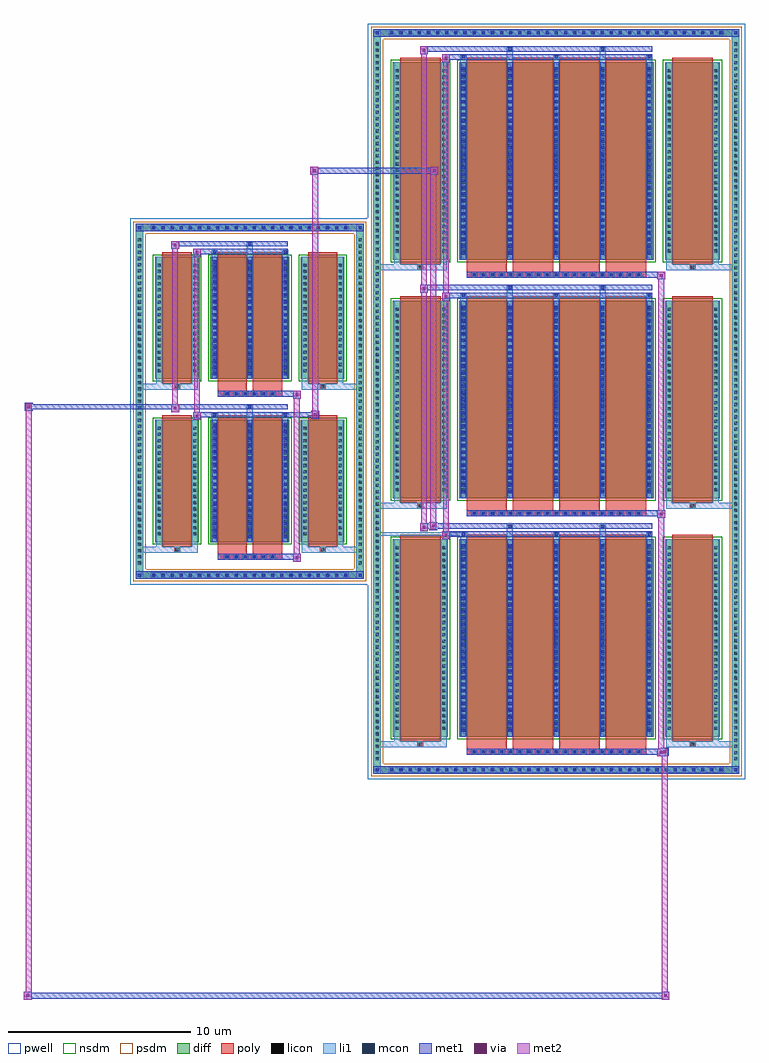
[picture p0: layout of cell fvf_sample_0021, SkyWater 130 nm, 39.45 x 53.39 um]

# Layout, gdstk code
import gdstk
lib = gdstk.Library(unit=1e-6, precision=1e-09)
def R(c, l, rs):  # rectangles x0, y0, x1, y1
    for r in rs: c.add(gdstk.rectangle(r[:2], r[2:], *l))
def A(c, l, x, y, w, h, nx, ny, dx, dy):  # array of equal rectangles
    R(c, l, [(x+i*dx, y+j*dy, x+i*dx+w, y+j*dy+h) for i in range(nx) for j in range(ny)])
def P(c, l, *ps):  # polygons
    for p in ps: c.add(gdstk.Polygon(p, *l))
pwell = (64, 44)
diff = (65, 20)
poly = (66, 20)
licon = (66, 44)
li1 = (67, 20)
mcon = (67, 44)
met1 = (68, 20)
via = (68, 44)
met2 = (69, 20)
nsdm = (93, 44)
psdm = (94, 20)

fvf_sample_0021 = lib.new_cell('fvf_sample_0021')
R(fvf_sample_0021, pwell, [(6.451,-20.672,27.093,20.672), (-6.551,-10.021,6.551,10.021)])
A(fvf_sample_0021, diff, 7.567, -20.362, 0.41, 0.41, 37, 2, 0.5, 40.314)
A(fvf_sample_0021, diff, 6.761, -19.755, 0.41, 0.41, 1, 116, 0, 0.34)
A(fvf_sample_0021, diff, 26.373, -19.755, 0.41, 0.41, 1, 116, 0, 0.34)
A(fvf_sample_0021, diff, 7.831, -18.341, 2.992, 10.802, 1, 3, 0, 13.048)
A(fvf_sample_0021, diff, 11.463, -18.341, 10.618, 10.802, 1, 3, 0, 13.048)
A(fvf_sample_0021, diff, 22.721, -18.341, 2.992, 10.802, 1, 3, 0, 13.048)
A(fvf_sample_0021, diff, -5.455, -9.711, 0.41, 0.41, 22, 2, 0.5, 19.012)
A(fvf_sample_0021, diff, -6.241, -9.045, 0.41, 0.41, 1, 53, 0, 0.34)
A(fvf_sample_0021, diff, 5.831, -9.045, 0.41, 0.41, 1, 53, 0, 0.34)
R(fvf_sample_0021, diff, [(7.567,-20.362,25.977,-19.952), (6.761,-19.755,7.171,19.755), (26.373,-19.755,26.783,19.755), (-5.455,-9.711,5.455,-9.301), (-6.241,-9.045,-5.831,9.045), (5.831,-9.045,6.241,9.045), (-5.171,-7.69,-2.793,-1.014), (-2.153,-7.69,2.153,-1.014), (2.793,-7.69,5.171,-1.014), (-5.171,1.23,-2.793,7.906), (-2.153,1.23,2.153,7.906), (2.793,1.23,5.171,7.906), (-5.455,9.301,5.455,9.711), (7.567,19.952,25.977,20.362)])
P(fvf_sample_0021, diff, [(6.241,9.711),(-6.241,9.711),(-6.241,-9.301),(-5.831,-9.301),(-5.831,9.301),(5.831,9.301),(5.831,-9.301),(-5.831,-9.301),(-6.241,-9.301),(-6.241,-9.711),(6.241,-9.711)],
  [(26.783,20.362),(6.761,20.362),(6.761,-19.952),(7.171,-19.952),(7.171,19.952),(26.373,19.952),(26.373,-19.952),(7.171,-19.952),(6.761,-19.952),(6.761,-20.362),(26.783,-20.362)])
A(fvf_sample_0021, poly, 11.853, -19.322, 9.838, 0.33, 1, 3, 0, 13.048)
A(fvf_sample_0021, poly, 12.107, -19.322, 0.33, 0.33, 19, 3, 0.5, 13.048)
A(fvf_sample_0021, poly, 11.853, -18.992, 2.212, 0.401, 4, 3, 2.542, 13.048)
A(fvf_sample_0021, poly, 8.221, -18.591, 2.212, 11.302, 1, 3, 0, 13.048)
A(fvf_sample_0021, poly, 11.853, -18.591, 2.212, 11.302, 4, 3, 2.542, 13.048)
A(fvf_sample_0021, poly, 23.111, -18.591, 2.212, 11.302, 1, 3, 0, 13.048)
A(fvf_sample_0021, poly, -1.415, -8.67, 0.33, 0.33, 6, 2, 0.5, 8.92)
R(fvf_sample_0021, poly, [(9.162,-18.921,9.492,-18.591), (9.162,-18.921,9.492,-18.591), (24.052,-18.921,24.382,-18.591), (24.052,-18.921,24.382,-18.591), (-1.763,-8.67,1.763,-8.34), (-1.763,-8.34,-0.165,-7.94), (0.165,-8.34,1.763,-7.94), (-4.147,-8.27,-3.817,-7.94), (-4.147,-8.27,-3.817,-7.94), (3.817,-8.27,4.147,-7.94), (3.817,-8.27,4.147,-7.94), (-4.781,-7.94,-3.183,-0.764), (-1.763,-7.94,-0.165,-0.764), (0.165,-7.94,1.763,-0.764), (3.183,-7.94,4.781,-0.764), (9.162,-5.873,9.492,-5.543), (9.162,-5.873,9.492,-5.543), (24.052,-5.873,24.382,-5.543), (24.052,-5.873,24.382,-5.543), (-1.763,0.25,1.763,0.58), (-1.763,0.58,-0.165,0.98), (0.165,0.58,1.763,0.98), (-4.147,0.65,-3.817,0.98), (-4.147,0.65,-3.817,0.98), (3.817,0.65,4.147,0.98), (3.817,0.65,4.147,0.98), (-4.781,0.98,-3.183,8.156), (-1.763,0.98,-0.165,8.156), (0.165,0.98,1.763,8.156), (3.183,0.98,4.781,8.156), (9.162,7.175,9.492,7.505), (9.162,7.175,9.492,7.505), (24.052,7.175,24.382,7.505), (24.052,7.175,24.382,7.505)])
A(fvf_sample_0021, licon, 7.687, -20.242, 0.17, 0.17, 37, 2, 0.5, 40.314)
A(fvf_sample_0021, licon, 6.881, -19.635, 0.17, 0.17, 1, 116, 0, 0.34)
A(fvf_sample_0021, licon, 26.493, -19.635, 0.17, 0.17, 1, 116, 0, 0.34)
A(fvf_sample_0021, licon, 12.187, -19.242, 0.17, 0.17, 19, 3, 0.5, 13.048)
A(fvf_sample_0021, licon, 9.242, -18.841, 0.17, 0.17, 1, 3, 0, 13.048)
A(fvf_sample_0021, licon, 24.132, -18.841, 0.17, 0.17, 1, 3, 0, 13.048)
A(fvf_sample_0021, licon, 7.971, -17.955, 0.17, 0.17, 1, 30, 0, 0.34)
A(fvf_sample_0021, licon, 10.513, -17.955, 0.17, 0.17, 1, 30, 0, 0.34)
A(fvf_sample_0021, licon, 11.603, -17.955, 0.17, 0.17, 5, 30, 2.542, 0.34)
A(fvf_sample_0021, licon, 22.861, -17.955, 0.17, 0.17, 1, 30, 0, 0.34)
A(fvf_sample_0021, licon, 25.403, -17.955, 0.17, 0.17, 1, 30, 0, 0.34)
A(fvf_sample_0021, licon, -5.335, -9.591, 0.17, 0.17, 22, 2, 0.5, 19.012)
A(fvf_sample_0021, licon, -6.121, -8.925, 0.17, 0.17, 1, 53, 0, 0.34)
A(fvf_sample_0021, licon, 5.951, -8.925, 0.17, 0.17, 1, 53, 0, 0.34)
A(fvf_sample_0021, licon, -1.335, -8.59, 0.17, 0.17, 6, 2, 0.5, 8.92)
A(fvf_sample_0021, licon, -5.031, -7.327, 0.17, 0.17, 1, 18, 0, 0.34)
A(fvf_sample_0021, licon, -3.103, -7.327, 0.17, 0.17, 1, 18, 0, 0.34)
A(fvf_sample_0021, licon, -2.013, -7.327, 0.17, 0.17, 3, 18, 1.928, 0.34)
A(fvf_sample_0021, licon, 2.933, -7.327, 0.17, 0.17, 1, 18, 0, 0.34)
A(fvf_sample_0021, licon, 4.861, -7.327, 0.17, 0.17, 1, 18, 0, 0.34)
A(fvf_sample_0021, licon, 7.971, -4.907, 0.17, 0.17, 1, 30, 0, 0.34)
A(fvf_sample_0021, licon, 10.513, -4.907, 0.17, 0.17, 1, 30, 0, 0.34)
A(fvf_sample_0021, licon, 11.603, -4.907, 0.17, 0.17, 5, 30, 2.542, 0.34)
A(fvf_sample_0021, licon, 22.861, -4.907, 0.17, 0.17, 1, 30, 0, 0.34)
A(fvf_sample_0021, licon, 25.403, -4.907, 0.17, 0.17, 1, 30, 0, 0.34)
A(fvf_sample_0021, licon, -5.031, 1.593, 0.17, 0.17, 1, 18, 0, 0.34)
A(fvf_sample_0021, licon, -3.103, 1.593, 0.17, 0.17, 1, 18, 0, 0.34)
A(fvf_sample_0021, licon, -2.013, 1.593, 0.17, 0.17, 3, 18, 1.928, 0.34)
A(fvf_sample_0021, licon, 2.933, 1.593, 0.17, 0.17, 1, 18, 0, 0.34)
A(fvf_sample_0021, licon, 4.861, 1.593, 0.17, 0.17, 1, 18, 0, 0.34)
A(fvf_sample_0021, licon, 7.971, 8.141, 0.17, 0.17, 1, 30, 0, 0.34)
A(fvf_sample_0021, licon, 10.513, 8.141, 0.17, 0.17, 1, 30, 0, 0.34)
A(fvf_sample_0021, licon, 11.603, 8.141, 0.17, 0.17, 5, 30, 2.542, 0.34)
A(fvf_sample_0021, licon, 22.861, 8.141, 0.17, 0.17, 1, 30, 0, 0.34)
A(fvf_sample_0021, licon, 25.403, 8.141, 0.17, 0.17, 1, 30, 0, 0.34)
R(fvf_sample_0021, licon, [(-4.067,-8.19,-3.897,-8.02), (3.897,-8.19,4.067,-8.02), (-4.067,0.73,-3.897,0.9), (3.897,0.73,4.067,0.9)])
A(fvf_sample_0021, li1, 7.607, -20.322, 0.33, 0.33, 37, 2, 0.5, 40.314)
A(fvf_sample_0021, li1, 6.801, -19.715, 0.33, 0.33, 1, 116, 0, 0.34)
A(fvf_sample_0021, li1, 26.413, -19.715, 0.33, 0.33, 1, 116, 0, 0.34)
A(fvf_sample_0021, li1, 12.107, -19.322, 0.33, 0.33, 19, 3, 0.5, 13.048)
A(fvf_sample_0021, li1, 6.761, -18.921, 2.401, 0.33, 1, 3, 0, 13.048)
A(fvf_sample_0021, li1, 7.891, -18.921, 0.33, 0.58, 1, 3, 0, 13.048)
A(fvf_sample_0021, li1, 7.891, -18.921, 1.271, 0.33, 1, 3, 0, 13.048)
A(fvf_sample_0021, li1, 9.162, -18.921, 0.33, 0.33, 1, 3, 0, 13.048)
A(fvf_sample_0021, li1, 9.492, -18.921, 1.271, 0.33, 1, 3, 0, 13.048)
A(fvf_sample_0021, li1, 10.433, -18.921, 0.33, 0.58, 1, 3, 0, 13.048)
A(fvf_sample_0021, li1, 22.781, -18.921, 0.33, 0.58, 1, 3, 0, 13.048)
A(fvf_sample_0021, li1, 22.781, -18.921, 1.271, 0.33, 1, 3, 0, 13.048)
A(fvf_sample_0021, li1, 24.052, -18.921, 0.33, 0.33, 1, 3, 0, 13.048)
A(fvf_sample_0021, li1, 24.052, -18.921, 2.731, 0.33, 1, 3, 0, 13.048)
A(fvf_sample_0021, li1, 24.382, -18.921, 1.271, 0.33, 1, 3, 0, 13.048)
A(fvf_sample_0021, li1, 25.323, -18.921, 0.33, 0.58, 1, 3, 0, 13.048)
A(fvf_sample_0021, li1, 7.891, -18.341, 0.33, 10.802, 1, 3, 0, 13.048)
A(fvf_sample_0021, li1, 10.433, -18.341, 0.33, 10.802, 1, 3, 0, 13.048)
A(fvf_sample_0021, li1, 11.523, -18.341, 0.33, 10.802, 5, 3, 2.542, 13.048)
A(fvf_sample_0021, li1, 22.781, -18.341, 0.33, 10.802, 1, 3, 0, 13.048)
A(fvf_sample_0021, li1, 25.323, -18.341, 0.33, 10.802, 1, 3, 0, 13.048)
A(fvf_sample_0021, li1, 11.603, -18.065, 0.17, 0.17, 5, 29, 2.542, 0.36)
A(fvf_sample_0021, li1, 11.603, -18.065, 0.17, 10.25, 5, 3, 2.542, 13.048)
A(fvf_sample_0021, li1, 7.891, -18.035, 0.33, 0.33, 1, 30, 0, 0.34)
A(fvf_sample_0021, li1, 10.433, -18.035, 0.33, 0.33, 1, 30, 0, 0.34)
A(fvf_sample_0021, li1, 11.523, -18.035, 0.33, 0.33, 5, 30, 2.542, 0.34)
A(fvf_sample_0021, li1, 22.781, -18.035, 0.33, 0.33, 1, 30, 0, 0.34)
A(fvf_sample_0021, li1, 25.323, -18.035, 0.33, 0.33, 1, 30, 0, 0.34)
A(fvf_sample_0021, li1, -5.415, -9.671, 0.33, 0.33, 22, 2, 0.5, 19.012)
A(fvf_sample_0021, li1, -6.201, -9.005, 0.33, 0.33, 1, 53, 0, 0.34)
A(fvf_sample_0021, li1, 5.871, -9.005, 0.33, 0.33, 1, 53, 0, 0.34)
A(fvf_sample_0021, li1, -1.415, -8.67, 0.33, 0.33, 6, 2, 0.5, 8.92)
A(fvf_sample_0021, li1, -2.093, -7.69, 0.33, 6.676, 3, 2, 1.928, 8.92)
A(fvf_sample_0021, li1, 11.523, -7.539, 0.33, 0.375, 3, 3, 5.084, 13.048)
A(fvf_sample_0021, li1, 14.065, -7.539, 0.33, 0.805, 1, 3, 0, 13.048)
A(fvf_sample_0021, li1, 19.149, -7.539, 0.33, 0.805, 1, 3, 0, 13.048)
A(fvf_sample_0021, li1, -2.013, -7.497, 0.17, 0.17, 3, 18, 1.928, 0.36)
A(fvf_sample_0021, li1, -2.013, -7.497, 0.17, 6.29, 3, 2, 1.928, 8.92)
A(fvf_sample_0021, li1, -5.111, -7.407, 0.33, 0.33, 1, 18, 0, 0.34)
A(fvf_sample_0021, li1, -3.183, -7.407, 0.33, 0.33, 1, 18, 0, 0.34)
A(fvf_sample_0021, li1, -2.093, -7.407, 0.33, 0.33, 3, 18, 1.928, 0.34)
A(fvf_sample_0021, li1, 2.853, -7.407, 0.33, 0.33, 1, 18, 0, 0.34)
A(fvf_sample_0021, li1, 4.781, -7.407, 0.33, 0.33, 1, 18, 0, 0.34)
A(fvf_sample_0021, li1, 11.603, -7.334, 0.17, 0.17, 3, 3, 5.084, 13.048)
A(fvf_sample_0021, li1, 14.145, -6.904, 0.17, 0.17, 1, 3, 0, 13.048)
A(fvf_sample_0021, li1, 19.229, -6.904, 0.17, 0.17, 1, 3, 0, 13.048)
A(fvf_sample_0021, li1, 11.603, -5.017, 0.17, 0.17, 5, 29, 2.542, 0.36)
A(fvf_sample_0021, li1, 7.891, -4.987, 0.33, 0.33, 1, 30, 0, 0.34)
A(fvf_sample_0021, li1, 10.433, -4.987, 0.33, 0.33, 1, 30, 0, 0.34)
A(fvf_sample_0021, li1, 11.523, -4.987, 0.33, 0.33, 5, 30, 2.542, 0.34)
A(fvf_sample_0021, li1, 22.781, -4.987, 0.33, 0.33, 1, 30, 0, 0.34)
A(fvf_sample_0021, li1, 25.323, -4.987, 0.33, 0.33, 1, 30, 0, 0.34)
A(fvf_sample_0021, li1, -2.013, 1.423, 0.17, 0.17, 3, 18, 1.928, 0.36)
A(fvf_sample_0021, li1, -5.111, 1.513, 0.33, 0.33, 1, 18, 0, 0.34)
A(fvf_sample_0021, li1, -3.183, 1.513, 0.33, 0.33, 1, 18, 0, 0.34)
A(fvf_sample_0021, li1, -2.093, 1.513, 0.33, 0.33, 3, 18, 1.928, 0.34)
A(fvf_sample_0021, li1, 2.853, 1.513, 0.33, 0.33, 1, 18, 0, 0.34)
A(fvf_sample_0021, li1, 4.781, 1.513, 0.33, 0.33, 1, 18, 0, 0.34)
A(fvf_sample_0021, li1, 11.603, 8.031, 0.17, 0.17, 5, 29, 2.542, 0.36)
A(fvf_sample_0021, li1, 7.891, 8.061, 0.33, 0.33, 1, 30, 0, 0.34)
A(fvf_sample_0021, li1, 10.433, 8.061, 0.33, 0.33, 1, 30, 0, 0.34)
A(fvf_sample_0021, li1, 11.523, 8.061, 0.33, 0.33, 5, 30, 2.542, 0.34)
A(fvf_sample_0021, li1, 22.781, 8.061, 0.33, 0.33, 1, 30, 0, 0.34)
A(fvf_sample_0021, li1, 25.323, 8.061, 0.33, 0.33, 1, 30, 0, 0.34)
R(fvf_sample_0021, li1, [(6.761,-20.362,7.171,-19.952), (26.373,-20.362,26.783,-19.952), (7.607,-20.322,25.937,-19.992), (6.881,-20.242,7.051,-20.072), (6.881,-20.242,7.051,-20.072), (26.493,-20.242,26.663,-20.072), (26.493,-20.242,26.663,-20.072), (6.761,-19.952,7.171,19.952), (26.373,-19.952,26.783,19.952), (-6.241,-9.711,-5.831,-9.301), (5.831,-9.711,6.241,-9.301), (-5.415,-9.671,5.415,-9.341), (-6.121,-9.591,-5.951,-9.421), (-6.121,-9.591,-5.951,-9.421), (5.951,-9.591,6.121,-9.421), (5.951,-9.591,6.121,-9.421), (-6.241,-9.301,-5.831,9.301), (5.831,-9.301,6.241,9.301), (-6.241,-8.27,-4.147,-7.94), (-5.111,-8.27,-4.147,-7.94), (-5.111,-8.27,-4.781,-7.69), (-4.147,-8.27,-3.817,-7.94), (-3.817,-8.27,-2.853,-7.94), (-3.183,-8.27,-2.853,-7.69), (2.853,-8.27,3.817,-7.94), (2.853,-8.27,3.183,-7.69), (3.817,-8.27,4.147,-7.94), (3.817,-8.27,6.241,-7.94), (4.147,-8.27,5.111,-7.94), (4.781,-8.27,5.111,-7.69), (-5.111,-7.69,-4.781,-1.014), (-3.183,-7.69,-2.853,-1.014), (2.853,-7.69,3.183,-1.014), (4.781,-7.69,5.111,-1.014), (11.543,-7.394,11.833,-7.104), (6.761,-7.349,11.543,-7.149), (11.603,-7.334,11.773,-7.164), (-2.093,-1.014,-1.763,-0.639), (-0.165,-1.014,0.165,-0.209), (1.763,-1.014,2.093,-0.639), (-2.013,-0.809,-1.843,-0.639), (1.843,-0.809,2.013,-0.639), (-0.085,-0.379,0.085,-0.209), (-6.241,0.65,-4.147,0.98), (-5.111,0.65,-4.147,0.98), (-5.111,0.65,-4.781,1.23), (-4.147,0.65,-3.817,0.98), (-3.817,0.65,-2.853,0.98), (-3.183,0.65,-2.853,1.23), (2.853,0.65,3.817,0.98), (2.853,0.65,3.183,1.23), (3.817,0.65,4.147,0.98), (3.817,0.65,6.241,0.98), (4.147,0.65,5.111,0.98), (4.781,0.65,5.111,1.23), (-5.111,1.23,-4.781,7.906), (-3.183,1.23,-2.853,7.906), (2.853,1.23,3.183,7.906), (4.781,1.23,5.111,7.906), (-2.093,7.906,-1.763,8.281), (-0.165,7.906,0.165,8.711), (1.763,7.906,2.093,8.281), (-2.013,8.111,-1.843,8.281), (1.843,8.111,2.013,8.281), (-0.085,8.541,0.085,8.711), (-6.241,9.301,-5.831,9.711), (5.831,9.301,6.241,9.711), (-5.415,9.341,5.415,9.671), (-6.121,9.421,-5.951,9.591), (-6.121,9.421,-5.951,9.591), (5.951,9.421,6.121,9.591), (5.951,9.421,6.121,9.591), (6.761,19.952,7.171,20.362), (26.373,19.952,26.783,20.362), (7.607,19.992,25.937,20.322), (6.881,20.072,7.051,20.242), (6.881,20.072,7.051,20.242), (26.493,20.072,26.663,20.242), (26.493,20.072,26.663,20.242)])
A(fvf_sample_0021, mcon, 7.687, -20.242, 0.17, 0.17, 37, 2, 0.5, 40.314)
A(fvf_sample_0021, mcon, 12.187, -19.242, 0.17, 0.17, 19, 3, 0.5, 13.048)
A(fvf_sample_0021, mcon, 11.603, -18.065, 0.17, 0.17, 5, 29, 2.542, 0.36)
A(fvf_sample_0021, mcon, -5.335, -9.591, 0.17, 0.17, 22, 2, 0.5, 19.012)
A(fvf_sample_0021, mcon, -1.335, -8.59, 0.17, 0.17, 6, 2, 0.5, 8.92)
A(fvf_sample_0021, mcon, -2.013, -7.497, 0.17, 0.17, 3, 18, 1.928, 0.36)
A(fvf_sample_0021, mcon, 11.603, -7.334, 0.17, 0.17, 3, 3, 5.084, 13.048)
A(fvf_sample_0021, mcon, 14.145, -6.904, 0.17, 0.17, 1, 3, 0, 13.048)
A(fvf_sample_0021, mcon, 19.229, -6.904, 0.17, 0.17, 1, 3, 0, 13.048)
A(fvf_sample_0021, mcon, 11.603, -5.017, 0.17, 0.17, 5, 29, 2.542, 0.36)
A(fvf_sample_0021, mcon, -2.013, 1.423, 0.17, 0.17, 3, 18, 1.928, 0.36)
A(fvf_sample_0021, mcon, 11.603, 8.031, 0.17, 0.17, 5, 29, 2.542, 0.36)
R(fvf_sample_0021, mcon, [(6.881,-20.242,7.051,-20.072), (26.493,-20.242,26.663,-20.072), (-6.121,-9.591,-5.951,-9.421), (5.951,-9.591,6.121,-9.421), (11.603,-7.334,11.773,-7.164), (-2.013,-0.809,-1.843,-0.639), (1.843,-0.809,2.013,-0.639), (-0.085,-0.379,0.085,-0.209), (-2.013,8.111,-1.843,8.281), (1.843,8.111,2.013,8.281), (-0.085,8.541,0.085,8.711), (-6.121,9.421,-5.951,9.591), (5.951,9.421,6.121,9.591), (6.881,20.072,7.051,20.242), (26.493,20.072,26.663,20.242)])
A(fvf_sample_0021, met1, 7.627, -20.302, 0.29, 0.29, 37, 2, 0.5, 40.314)
A(fvf_sample_0021, met1, 11.853, -19.322, 9.838, 0.33, 1, 3, 0, 13.048)
A(fvf_sample_0021, met1, 12.127, -19.302, 0.29, 0.29, 19, 3, 0.5, 13.048)
A(fvf_sample_0021, met1, 11.543, -18.341, 0.29, 10.802, 5, 3, 2.542, 13.048)
A(fvf_sample_0021, met1, 11.543, -18.125, 0.29, 0.29, 5, 29, 2.542, 0.36)
A(fvf_sample_0021, met1, -5.395, -9.651, 0.29, 0.29, 22, 2, 0.5, 19.012)
A(fvf_sample_0021, met1, -1.395, -8.65, 0.29, 0.29, 6, 2, 0.5, 8.92)
A(fvf_sample_0021, met1, -2.073, -7.69, 0.29, 6.676, 3, 2, 1.928, 8.92)
A(fvf_sample_0021, met1, -2.073, -7.557, 0.29, 0.29, 3, 18, 1.928, 0.36)
A(fvf_sample_0021, met1, 11.543, -7.394, 0.29, 0.29, 3, 3, 5.084, 13.048)
A(fvf_sample_0021, met1, 14.085, -6.964, 0.29, 0.29, 1, 3, 0, 13.048)
A(fvf_sample_0021, met1, 19.169, -6.964, 0.29, 0.29, 1, 3, 0, 13.048)
A(fvf_sample_0021, met1, 11.543, -5.077, 0.29, 0.29, 5, 29, 2.542, 0.36)
A(fvf_sample_0021, met1, -2.073, 1.363, 0.29, 0.29, 3, 18, 1.928, 0.36)
A(fvf_sample_0021, met1, 11.543, 7.971, 0.29, 0.29, 5, 29, 2.542, 0.36)
R(fvf_sample_0021, met1, [(-12.359,-32.714,-11.929,-32.284), (22.526,-32.714,22.956,-32.284), (-12.359,-32.664,22.956,-32.334), (-12.359,-32.334,-11.929,-32.284), (22.526,-32.334,22.956,-32.284), (6.761,-20.362,7.171,-19.952), (6.761,-20.362,7.171,-19.952), (7.171,-20.362,26.373,-19.952), (26.373,-20.362,26.783,-19.952), (26.373,-20.362,26.783,-19.952), (6.821,-20.302,7.111,-20.012), (26.433,-20.302,26.723,-20.012), (22.291,-19.422,22.721,-18.992), (22.476,-19.372,22.906,-18.942), (21.691,-19.322,22.721,-18.992), (21.691,-19.322,22.476,-18.992), (-6.241,-9.711,-5.831,-9.301), (-6.241,-9.711,-5.831,-9.301), (-5.831,-9.711,5.831,-9.301), (5.831,-9.711,6.241,-9.301), (5.831,-9.711,6.241,-9.301), (-6.181,-9.651,-5.891,-9.361), (5.891,-9.651,6.181,-9.361), (2.363,-8.77,2.793,-8.34), (-1.763,-8.67,1.763,-8.34), (1.763,-8.67,2.793,-8.34), (10.513,-7.534,10.943,-7.104), (10.513,-7.394,11.543,-7.104), (11.543,-7.394,11.833,-7.104), (11.543,-7.394,22.001,-7.104), (9.313,-7.104,9.743,-6.674), (9.828,-7.034,10.258,-6.604), (9.313,-6.964,11.543,-6.674), (10.258,-6.964,11.543,-6.674), (11.543,-6.964,22.001,-6.674), (22.291,-6.374,22.721,-5.944), (22.291,-6.374,22.721,-5.944), (21.691,-6.274,22.721,-5.944), (21.691,-6.274,22.721,-5.944), (-3.103,-1.009,-2.673,-0.579), (3.358,-0.939,3.788,-0.509), (-3.103,-0.869,-2.073,-0.579), (-2.073,-0.869,-1.783,-0.579), (-2.073,-0.869,2.073,-0.579), (1.783,-0.869,2.073,-0.579), (2.073,-0.869,3.358,-0.579), (-4.303,-0.579,-3.873,-0.149), (-12.309,-0.509,-11.879,-0.079), (-11.879,-0.439,-2.073,-0.149), (-4.303,-0.439,-2.073,-0.149), (-2.073,-0.439,2.073,-0.149), (-0.145,-0.439,0.145,-0.149), (2.363,0.15,2.793,0.58), (-1.763,0.25,1.763,0.58), (1.763,0.25,2.793,0.58), (10.513,5.514,10.943,5.944), (10.513,5.514,10.943,5.944), (10.513,5.654,11.543,5.944), (10.513,5.654,11.543,5.944), (11.543,5.654,22.001,5.944), (9.313,5.944,9.743,6.374), (9.313,5.944,9.743,6.374), (9.313,6.084,11.543,6.374), (9.313,6.084,11.543,6.374), (11.543,6.084,22.001,6.374), (22.291,6.674,22.721,7.104), (21.691,6.774,22.721,7.104), (-3.103,7.911,-2.673,8.341), (-3.103,8.051,-2.073,8.341), (-2.073,8.051,-1.783,8.341), (-2.073,8.051,2.073,8.341), (1.783,8.051,2.073,8.341), (-4.303,8.341,-3.873,8.771), (-4.303,8.481,-2.073,8.771), (-2.073,8.481,2.073,8.771), (-0.145,8.481,0.145,8.771), (-6.241,9.301,-5.831,9.711), (-6.241,9.301,-5.831,9.711), (-5.831,9.301,5.831,9.711), (5.831,9.301,6.241,9.711), (5.831,9.301,6.241,9.711), (-6.181,9.361,-5.891,9.651), (5.891,9.361,6.181,9.651), (3.308,12.403,3.738,12.833), (9.878,12.403,10.308,12.833), (3.308,12.453,10.308,12.783), (3.308,12.783,3.738,12.833), (9.878,12.783,10.308,12.833), (10.513,18.562,10.943,18.992), (10.513,18.702,11.543,18.992), (11.543,18.702,22.001,18.992), (9.313,18.992,9.743,19.422), (9.313,19.132,11.543,19.422), (11.543,19.132,22.001,19.422), (6.761,19.952,7.171,20.362), (6.761,19.952,7.171,20.362), (7.171,19.952,26.373,20.362), (26.373,19.952,26.783,20.362), (26.373,19.952,26.783,20.362), (6.821,20.012,7.111,20.302), (26.433,20.012,26.723,20.302)])
R(fvf_sample_0021, via, [(-12.219,-32.574,-12.069,-32.424), (22.666,-32.574,22.816,-32.424), (22.431,-19.282,22.581,-19.132), (22.616,-19.232,22.766,-19.082), (2.503,-8.63,2.653,-8.48), (10.653,-7.394,10.803,-7.244), (9.453,-6.964,9.603,-6.814), (9.968,-6.894,10.118,-6.744), (22.431,-6.234,22.581,-6.084), (22.431,-6.234,22.581,-6.084), (-2.963,-0.869,-2.813,-0.719), (3.498,-0.799,3.648,-0.649), (-4.163,-0.439,-4.013,-0.289), (-12.169,-0.369,-12.019,-0.219), (2.503,0.29,2.653,0.44), (10.653,5.654,10.803,5.804), (10.653,5.654,10.803,5.804), (9.453,6.084,9.603,6.234), (9.453,6.084,9.603,6.234), (22.431,6.814,22.581,6.964), (-2.963,8.051,-2.813,8.201), (-4.163,8.481,-4.013,8.631), (3.448,12.543,3.598,12.693), (10.018,12.543,10.168,12.693), (10.653,18.702,10.803,18.852), (9.453,19.132,9.603,19.282)])
R(fvf_sample_0021, met2, [(-12.359,-32.714,-11.929,-32.284), (-12.259,-32.714,-11.929,-0.459), (22.526,-32.714,22.956,-32.284), (22.526,-32.714,22.856,-19.322), (-12.309,-32.664,-11.979,-32.334), (22.576,-32.664,22.906,-32.334), (22.291,-19.422,22.721,-18.992), (22.341,-19.422,22.671,-5.944), (22.671,-19.422,22.721,-18.992), (22.341,-19.372,22.671,-19.042), (22.526,-19.322,22.856,-18.992), (2.363,-8.77,2.793,-8.34), (2.413,-8.77,2.743,0.58), (2.743,-8.77,2.793,-8.34), (2.413,-8.72,2.743,-8.39), (10.513,-7.534,10.943,-7.104), (10.583,-7.534,10.873,5.944), (10.873,-7.534,10.943,-7.104), (10.563,-7.484,10.893,-7.154), (9.313,-7.104,9.743,-6.674), (9.383,-7.104,9.673,6.374), (9.673,-7.104,9.743,-6.674), (9.363,-7.054,9.693,-6.724), (9.878,-6.984,10.208,-6.654), (9.878,-6.654,10.208,12.833), (22.291,-6.374,22.721,-5.944), (22.291,-6.374,22.721,-5.944), (22.341,-6.374,22.671,7.104), (22.671,-6.374,22.721,-5.944), (22.671,-6.374,22.721,-5.944), (22.341,-6.324,22.671,-5.994), (22.341,-6.324,22.671,-5.994), (-3.103,-1.009,-2.673,-0.579), (-3.033,-1.009,-2.743,8.341), (-2.743,-1.009,-2.673,-0.579), (-3.053,-0.959,-2.723,-0.629), (3.408,-0.889,3.738,-0.559), (-4.303,-0.579,-3.873,-0.149), (-4.233,-0.579,-3.943,8.771), (-3.943,-0.579,-3.873,-0.149), (3.408,-0.559,3.738,12.833), (-4.253,-0.529,-3.923,-0.199), (-12.259,-0.459,-11.929,-0.129), (2.363,0.15,2.793,0.58), (2.743,0.15,2.793,0.58), (2.413,0.2,2.743,0.53), (10.513,5.514,10.943,5.944), (10.513,5.514,10.943,5.944), (10.583,5.514,10.873,18.992), (10.873,5.514,10.943,5.944), (10.873,5.514,10.943,5.944), (10.563,5.564,10.893,5.894), (10.563,5.564,10.893,5.894), (9.313,5.944,9.743,6.374), (9.313,5.944,9.743,6.374), (9.383,5.944,9.673,19.422), (9.673,5.944,9.743,6.374), (9.673,5.944,9.743,6.374), (9.363,5.994,9.693,6.324), (9.363,5.994,9.693,6.324), (22.291,6.674,22.721,7.104), (22.671,6.674,22.721,7.104), (22.341,6.724,22.671,7.054), (-3.103,7.911,-2.673,8.341), (-2.743,7.911,-2.673,8.341), (-3.053,7.961,-2.723,8.291), (-4.303,8.341,-3.873,8.771), (-3.943,8.341,-3.873,8.771), (-4.253,8.391,-3.923,8.721), (3.308,12.403,3.738,12.833), (9.878,12.403,10.308,12.833), (3.358,12.453,3.688,12.783), (9.928,12.453,10.258,12.783), (10.513,18.562,10.943,18.992), (10.873,18.562,10.943,18.992), (10.563,18.612,10.893,18.942), (9.313,18.992,9.743,19.422), (9.673,18.992,9.743,19.422), (9.363,19.042,9.693,19.372)])
A(fvf_sample_0021, nsdm, 7.701, -18.471, 3.252, 11.062, 1, 3, 0, 13.048)
A(fvf_sample_0021, nsdm, 11.333, -18.471, 10.878, 11.062, 1, 3, 0, 13.048)
A(fvf_sample_0021, nsdm, 22.591, -18.471, 3.252, 11.062, 1, 3, 0, 13.048)
R(fvf_sample_0021, nsdm, [(-5.301,-7.82,-2.663,-0.884), (-2.283,-7.82,2.283,-0.884), (2.663,-7.82,5.301,-0.884), (-5.301,1.1,-2.663,8.036), (-2.283,1.1,2.283,8.036), (2.663,1.1,5.301,8.036)])
P(fvf_sample_0021, psdm, [(6.371,9.841),(-6.371,9.841),(-6.371,-9.171),(-5.701,-9.171),(-5.701,9.171),(5.701,9.171),(5.701,-9.171),(-5.701,-9.171),(-6.371,-9.171),(-6.371,-9.841),(6.371,-9.841)],
  [(26.913,20.492),(6.631,20.492),(6.631,-19.822),(7.301,-19.822),(7.301,19.822),(26.243,19.822),(26.243,-19.822),(7.301,-19.822),(6.631,-19.822),(6.631,-20.492),(26.913,-20.492)])

lib.write_gds('fvf_sample_0021.gds')
